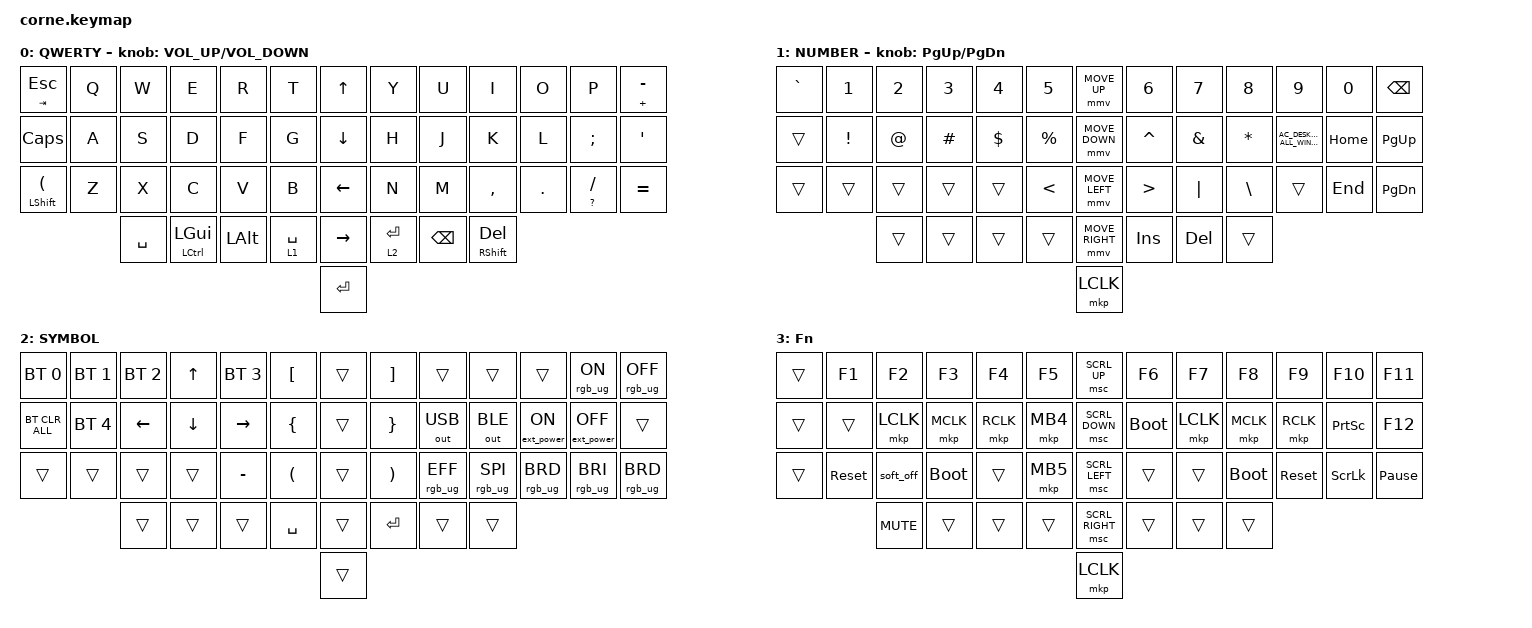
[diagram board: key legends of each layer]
#include <behaviors.dtsi>
#include <dt-bindings/zmk/bt.h>
#include <dt-bindings/zmk/ext_power.h>
#include <dt-bindings/zmk/keys.h>
#include <dt-bindings/zmk/mouse.h>
#include <dt-bindings/zmk/outputs.h>
#include <dt-bindings/zmk/rgb.h>

#define ZMK_MOUSE_DEFAULT_MOVE_VAL 2500  // 600
#define ZMK_MOUSE_DEFAULT_SCRL_VAL 20    // 10
#define U_MS_U &mmv MOVE_UP
#define U_MS_D &mmv MOVE_DOWN
#define U_MS_L &mmv MOVE_LEFT
#define U_MS_R &mmv MOVE_RIGHT
#define U_WH_U &msc SCRL_UP
#define U_WH_D &msc SCRL_DOWN
#define U_WH_L &msc SCRL_LEFT
#define U_WH_R &msc SCRL_RIGHT

/ {
    behaviors {
        td0: td0 {
            compatible = "zmk,behavior-tap-dance";
            label = "TD0";
            #binding-cells = <0>;
            bindings = <&kp LEFT_SHIFT>, <&kp CAPS>;
        };

        mmv {
            acceleration-exponent = <1>;      // 1
            time-to-max-speed-ms = <300>;    // 40
            delay-ms = <0>;                   // 0
        };

        msc {
            acceleration-exponent = <0>;      // 0
            time-to-max-speed-ms = <40>;      // 500
            delay-ms = <0>;                   // 10
        };
    };

    keymap {
        compatible = "zmk,keymap";

        default_layer {
            display-name = "QWERTY";

            // --------------------------------------------------------------------------------
            // |  TAB |  Q  |  W  |  E  |  R  |  T  |   |  Y  |  U   |  I  |  O  |  P  | BKSP |
            // | CTRL |  A  |  S  |  D  |  F  |  G  |   |  H  |  J   |  K  |  L  |  ;  |  '   | 
            // | SHFT |  Z  |  X  |  C  |  V  |  B  |   |  N  |  M   |  ,  |  .  |  /  | ESC  |
            //                    | GUI | LWR | SPC |   | ENT | RSE  | ALT |

            bindings = <
&mt TAB ESCAPE       &kp Q  &kp W      &kp E                      &kp R         &kp T          &kp UP_ARROW     &kp Y        &kp U          &kp I              &kp O    &kp P               &mt PLUS MINUS
&kp CLCK             &kp A  &kp S      &kp D                      &kp F         &kp G          &kp DOWN_ARROW   &kp H        &kp J          &kp K              &kp L    &kp SEMI            &kp SQT
&mt LEFT_SHIFT LPAR  &kp Z  &kp X      &kp C                      &kp V         &kp B          &kp LEFT_ARROW   &kp N        &kp M          &kp COMMA          &kp DOT  &mt QUESTION SLASH  &kp EQUAL
                            &kp SPACE  &mt LEFT_CONTROL LEFT_GUI  &kp LEFT_ALT  &lt 1 SPACE    &kp RIGHT_ARROW  &lt 2 ENTER  &kp BACKSPACE  &mt RSHIFT DELETE
                                                                                               &kp ENTER
            >;

            label = "QWERTY";
            sensor-bindings = <&inc_dec_kp C_VOLUME_UP C_VOLUME_DOWN>;
        };

        lower_layer {
            display-name = "NUMBER";

            // -----------------------------------------------------------------------------------------
            // |  TAB |  1  |  2  |  3  |  4  |  5  |   |  6  |  7  |  8  |  9  |  0  | BKSP |
            // | BTCLR| BT1 | BT2 | BT3 | BT4 | BT5 |   | LFT | DWN |  UP | RGT |     |      |
            // | SHFT |     |     |     |     |     |   |     |     |     |     |     |      |
            //                    | GUI |     | SPC |   | ENT |     | ALT |

            bindings = <
&kp GRAVE  &kp N1           &kp N2       &kp N3    &kp N4      &kp N5           &mmv MOVE_UP     &kp N6            &kp N7         &kp N8         &kp N9                             &kp N0    &kp BSPC
&trans     &kp EXCLAMATION  &kp AT_SIGN  &kp HASH  &kp DOLLAR  &kp PERCENT      &mmv MOVE_DOWN   &kp CARET         &kp AMPERSAND  &kp ASTERISK   &kp C_AC_DESKTOP_SHOW_ALL_WINDOWS  &kp HOME  &kp PG_UP
&trans     &trans           &trans       &trans    &trans      &kp LESS_THAN    &mmv MOVE_LEFT   &kp GREATER_THAN  &kp PIPE       &kp BACKSLASH  &trans                             &kp END   &kp PG_DN
                            &trans       &trans    &trans      &trans           &mmv MOVE_RIGHT  &kp INS           &kp DEL        &trans
                                                                                &mkp LCLK
            >;

            label = "NUMBER";
            sensor-bindings = <&inc_dec_kp  PG_UP PG_DN>;
        };

        raise_layer {
            display-name = "SYMBOL";

            // -----------------------------------------------------------------------------------------
            // |  TAB |  !  |  @  |  #  |  $  |  %  |   |  ^  |  &  |  *  |  (  |  )  | BKSP |
            // | CTRL |     |     |     |     |     |   |  -  |  =  |  [  |  ]  |  \  |  `   |
            // | SHFT |     |     |     |     |     |   |  _  |  +  |  {  |  }  | "|" |  ~   |
            //                    | GUI |     | SPC |   | ENT |     | ALT |

            bindings = <
&bt BT_SEL 0    &bt BT_SEL 1  &bt BT_SEL 2    &kp UP_ARROW    &bt BT_SEL 3     &kp LEFT_BRACKET        &trans  &kp RIGHT_BRACKET      &trans           &trans           &trans            &rgb_ug RGB_ON     &rgb_ug RGB_OFF
&bt BT_CLR_ALL  &bt BT_SEL 4  &kp LEFT_ARROW  &kp DOWN_ARROW  &kp RIGHT_ARROW  &kp LEFT_BRACE          &trans  &kp RIGHT_BRACE        &out OUT_USB     &out OUT_BLE     &ext_power EP_ON  &ext_power EP_OFF  &trans
&trans          &trans        &trans          &trans          &kp MINUS        &kp LEFT_PARENTHESIS    &trans  &kp RIGHT_PARENTHESIS  &rgb_ug RGB_EFF  &rgb_ug RGB_SPI  &rgb_ug RGB_BRD   &rgb_ug RGB_BRI    &rgb_ug RGB_BRD
                              &trans          &trans          &trans           &kp SPACE               &trans  &kp RET                &trans           &trans
                                                                                                       &trans
            >;
        };

        layer_3 {
            display-name = "Fn";
            bindings = <
&trans  &kp F1      &kp F2      &kp F3       &kp F4     &kp F5      &msc SCRL_UP     &kp F6       &kp F7     &kp F8       &kp F9      &kp F10          &kp F11
&trans  &trans      &mkp LCLK   &mkp MCLK    &mkp RCLK  &mkp MB4    &msc SCRL_DOWN   &bootloader  &mkp LCLK  &mkp MCLK    &mkp RCLK   &kp PRINTSCREEN  &kp F12
&trans  &sys_reset  &soft_off   &bootloader  &trans     &mkp MB5    &msc SCRL_LEFT   &trans       &trans     &bootloader  &sys_reset  &kp SCROLLLOCK   &kp PAUSE_BREAK
                    &kp C_MUTE  &trans       &trans     &trans      &msc SCRL_RIGHT  &trans       &trans     &trans
                                                                    &mkp LCLK
            >;
        };
    };

    conditional_layers {
        compatible = "zmk,conditional-layers";

        Layer3_activate {
            if-layers = <1 2>;
            then-layer = <3>;
        };
    };
};
